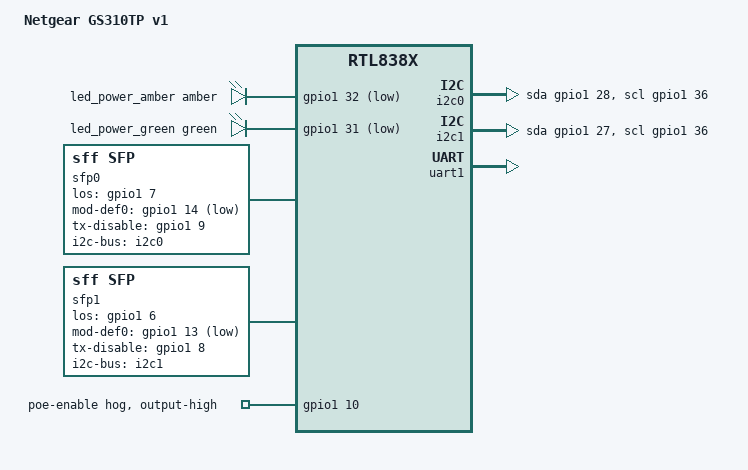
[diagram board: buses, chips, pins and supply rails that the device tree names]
// SPDX-License-Identifier: GPL-2.0-or-later

#include "rtl8380_netgear_gigabit.dtsi"

#include <dt-bindings/leds/common.h>

/ {
	compatible = "netgear,gs310tp-v1", "realtek,rtl838x-soc";
	model = "Netgear GS310TP v1";

	aliases {
		led-boot = &led_power_green;
		led-failsafe = &led_power_amber;
		led-running = &led_power_green;
		led-upgrade = &led_power_amber;
	};

	leds {
		compatible = "gpio-leds";

		led_power_amber: led-0 {
			color = <LED_COLOR_ID_AMBER>;
			function = LED_FUNCTION_POWER;
			gpios = <&gpio1 32 GPIO_ACTIVE_LOW>;
		};

		led_power_green: led-1 {
			color = <LED_COLOR_ID_GREEN>;
			function = LED_FUNCTION_POWER;
			gpios = <&gpio1 31 GPIO_ACTIVE_LOW>;
		};
	};

	/* i2c of the left SFP cage: port 9 */
	i2c0: i2c-gpio-0 {
		compatible = "i2c-gpio";
		sda-gpios = <&gpio1 28 (GPIO_ACTIVE_HIGH | GPIO_OPEN_DRAIN)>;
		scl-gpios = <&gpio1 36 (GPIO_ACTIVE_HIGH | GPIO_OPEN_DRAIN)>;
		i2c-gpio,delay-us = <2>;
		#address-cells = <1>;
		#size-cells = <0>;
	};

	sfp0: sfp-p9 {
		compatible = "sff,sfp";
		i2c-bus = <&i2c0>;
		los-gpios = <&gpio1 7 GPIO_ACTIVE_HIGH>;
		mod-def0-gpios = <&gpio1 14 GPIO_ACTIVE_LOW>;
		tx-disable-gpios = <&gpio1 9 GPIO_ACTIVE_HIGH>;
	};

	/* i2c of the right SFP cage: port 10 */
	i2c1: i2c-gpio-1 {
		compatible = "i2c-gpio";
		sda-gpios = <&gpio1 27 (GPIO_ACTIVE_HIGH | GPIO_OPEN_DRAIN)>;
		scl-gpios = <&gpio1 36 (GPIO_ACTIVE_HIGH | GPIO_OPEN_DRAIN)>;
		i2c-gpio,delay-us = <2>;
		#address-cells = <1>;
		#size-cells = <0>;
	};

	sfp1: sfp-p10 {
		compatible = "sff,sfp";
		i2c-bus = <&i2c1>;
		los-gpios = <&gpio1 6 GPIO_ACTIVE_HIGH>;
		mod-def0-gpios = <&gpio1 13 GPIO_ACTIVE_LOW>;
		tx-disable-gpios = <&gpio1 8 GPIO_ACTIVE_HIGH>;
	};

};

&gpio1 {
	poe-enable {
		gpio-hog;
		gpios = <10 GPIO_ACTIVE_HIGH>;
		output-high;
		line-name = "poe-enable";
	};
};

&firmware {
	openwrt,ih-magic = <0x4e474335>;
};

&uart1 {
	status = "okay";
};

&switch0 {
	ethernet-ports {
		port24: port@24 {
			reg = <24>;
			label = SWITCH_PORT_LABEL(9);
			pcs-handle = <&serdes4 0>;
			phy-mode = "1000base-x";
			managed = "in-band-status";
			sfp = <&sfp0>;
		};
		port26: port@26 {
			reg = <26>;
			label = SWITCH_PORT_LABEL(10);
			pcs-handle = <&serdes5 0>;
			phy-mode = "1000base-x";
			managed = "in-band-status";
			sfp = <&sfp1>;
		};
	};
};
